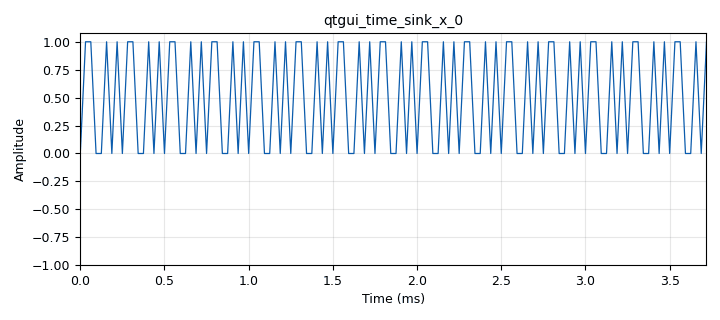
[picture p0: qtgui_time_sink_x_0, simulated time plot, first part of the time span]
options:
  parameters:
    generate_options: qt_gui
    id: temp
    output_language: python
    title: Not titled yet
  states: {}

blocks:
- name: samp_rate
  id: variable
  parameters:
    value: '32000'
  states: {}
- name: blocks_char_to_float_0
  id: blocks_char_to_float
  parameters:
    scale: '1'
  states: {}
- name: blocks_file_sink_0
  id: blocks_file_sink
  parameters:
    file: /home/praveen/Documents/tmp.txt
    type: byte
  states: {}
- name: blocks_repack_bits_bb_0
  id: blocks_repack_bits_bb
  parameters:
    align_output: 'True'
    endianness: gr.GR_LSB_FIRST
    k: '1'
    l: '8'
    len_tag_key: ''
  states: {}
- name: blocks_throttle2_0
  id: blocks_throttle2
  parameters:
    samples_per_second: samp_rate
    type: byte
  states: {}
- name: epy_block_0
  id: epy_block
  parameters:
    _source_code: |
      import numpy as np
      from gnuradio import gr

      class bit_stream_generator(gr.sync_block):
          """
          Custom block to generate a bit stream.
          """
          def __init__(self, bit_pattern="101010", bit_rate=10):
              """
              Initialize the block.
              :param bit_pattern: String of '1's and '0's representing the bit pattern.
              :param bit_rate: Number of bits per second.
              """
              self.bit_pattern = [int(b) for b in bit_pattern]
              self.bit_rate = bit_rate
              self.sample_rate = 10  # Default sample rate in samples/sec.
              self.samples_per_bit = int(self.sample_rate / self.bit_rate)
              
              super().__init__(
                  name="bit_stream_generator",
                  in_sig=None,
                  out_sig=[np.int8]  # Output a stream of bits as 8-bit integers
              )

          def work(self, input_items, output_items):
              """
              Process block logic.
              """
              output = output_items[0]
              num_bits = len(output) // self.samples_per_bit
              bit_sequence = np.tile(self.bit_pattern, num_bits // len(self.bit_pattern) + 1)
              
              for i in range(num_bits):
                  output[i * self.samples_per_bit:(i + 1) * self.samples_per_bit] = bit_sequence[i]
              
              return len(output)
    bit_pattern: '"10101100"'
    bit_rate: '10'
  states: {}
- name: qtgui_time_sink_x_0
  id: qtgui_time_sink_x
  parameters:
    size: '1024'
    srate: samp_rate
    type: float
  states: {}

connections:
- [blocks_char_to_float_0, '0', qtgui_time_sink_x_0, '0']
- [blocks_repack_bits_bb_0, '0', blocks_file_sink_0, '0']
- [blocks_throttle2_0, '0', blocks_char_to_float_0, '0']
- [epy_block_0, '0', blocks_repack_bits_bb_0, '0']
- [epy_block_0, '0', blocks_throttle2_0, '0']

metadata:
  file_format: 1
  grc_version: 3.10.9.2
